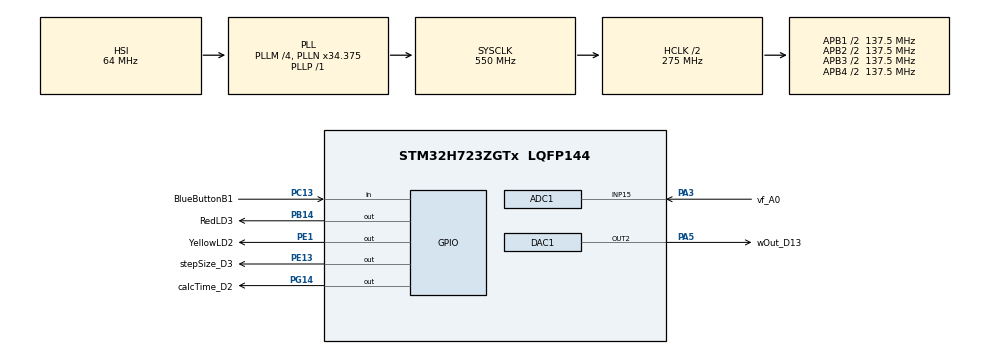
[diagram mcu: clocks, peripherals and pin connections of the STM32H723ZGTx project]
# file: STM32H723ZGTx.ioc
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ADC1.Channel-1\#ChannelRegularConversion=ADC_CHANNEL_15
ADC1.NbrOfConversionFlag=1
ADC1.OffsetNumber-1\#ChannelRegularConversion=ADC_OFFSET_NONE
ADC1.OffsetSignedSaturation-1\#ChannelRegularConversion=DISABLE
ADC1.Rank-1\#ChannelRegularConversion=1
ADC1.SamplingTime-1\#ChannelRegularConversion=ADC_SAMPLETIME_1CYCLE_5
ADC1.master=1
CORTEX_M7.default_mode_Activation=1
DAC1.DAC_Channel-DAC_OUT2=DAC_CHANNEL_2
Mcu.Family=STM32H7
Mcu.Name=STM32H723ZGTx
Mcu.Package=LQFP144
NVIC.PriorityGroup=NVIC_PRIORITYGROUP_4
NVIC.TIM2_IRQn=true\:0\:0\:false\:false\:true\:true\:true\:true
PA13(JTMS/SWDIO).GPIO_Label=SWDIO
PA13(JTMS/SWDIO).Signal=DEBUG_JTMS-SWDIO
PA14(JTCK/SWCLK).GPIO_Label=SWCLK
PA14(JTCK/SWCLK).Signal=DEBUG_JTCK-SWCLK
PA3.GPIO_Label=vf_A0
PA3.Signal=ADCx_INP15
PA5.GPIO_Label=wOut_D13
PA5.Signal=COMP_DAC12_group
PB14.GPIO_Label=RedLD3
PB14.Signal=GPIO_Output
PC13.GPIO_Label=BlueButtonB1
PC13.Signal=GPIO_Input
PC14-OSC32_IN.Signal=RCC_OSC32_IN
PC15-OSC32_OUT.Signal=RCC_OSC32_OUT
PE1.GPIO_Label=YellowLD2
PE1.Signal=GPIO_Output
PE13.GPIO_Label=stepSize_D3
PE13.GPIO_Speed=GPIO_SPEED_FREQ_VERY_HIGH
PE13.Signal=GPIO_Output
PG14.GPIO_Label=calcTime_D2
PG14.GPIO_Speed=GPIO_SPEED_FREQ_VERY_HIGH
PG14.Signal=GPIO_Output
ProjectManager.HeapSize=0x200
ProjectManager.StackSize=0x400
ProjectManager.TargetToolchain=STM32CubeIDE
RCC.ADCFreq_Value=96000000
RCC.APB1Freq_Value=137500000
RCC.APB2Freq_Value=137500000
RCC.APB3Freq_Value=137500000
RCC.APB4Freq_Value=137500000
RCC.CortexFreq_Value=550000000
RCC.D1PPRE=RCC_APB3_DIV2
RCC.D2PPRE1=RCC_APB1_DIV2
RCC.D2PPRE2=RCC_APB2_DIV2
RCC.D3PPRE=RCC_APB4_DIV2
RCC.DIVM1=4
RCC.DIVM2=4
RCC.DIVN1=34
RCC.DIVN2=12
RCC.DIVP1=1
RCC.DIVQ1=4
RCC.HCLKFreq_Value=275000000
RCC.HPRE=RCC_HCLK_DIV2
RCC.HSE_VALUE=8000000
RCC.PLL2FRACN=0
RCC.PLLFRACN=3072
RCC.SYSCLKFreq_VALUE=550000000
RCC.SYSCLKSource=RCC_SYSCLKSOURCE_PLLCLK
RCC.USBCLockSelection=RCC_USBCLKSOURCE_HSI48
RCC.USBFreq_Value=48000000
SH.ADCx_INP15.0=ADC1_INP15,IN15-Single-Ended
SH.COMP_DAC12_group.0=DAC1_OUT2,DAC_OUT2
TIM2.Channel-Output\ Compare1\ No\ Output=TIM_CHANNEL_1
TIM2.Period=199
TIM2.Prescaler=274
VP_MEMORYMAP_VS_MEMORYMAP.Mode=CurAppReg
VP_TIM2_VS_ClockSourceINT.Mode=Internal
VP_TIM2_VS_no_output1.Mode=Output Compare1 No Output
board=NUCLEO-H723ZG

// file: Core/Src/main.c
/* USER CODE BEGIN Header */
/**
  ******************************************************************************
  * @file           : main.c
  * @brief          : Main program body
  ******************************************************************************
  * @attention
  *
  * Copyright (c) 2026 STMicroelectronics.
  * All rights reserved.
  *
  * This software is licensed under terms that can be found in the LICENSE file
  * in the root directory of this software component.
  * If no LICENSE file comes with this software, it is provided AS-IS.
  *
  ******************************************************************************
  */
/* USER CODE END Header */
#include "main.h"
#include "adc.h"
#include "dac.h"
#include "tim.h"
#include "gpio.h"

/* USER CODE BEGIN Includes */
#include "block.h"
/* USER CODE END Includes */

/* USER CODE BEGIN PTD */
#define CONCAT_INNER(a, b) a##b
#define CONCAT(a, b) CONCAT_INNER(a, b)

/* Define shortcut names for unique, hash-based eFMU API: */
#define MODEL_HASH \
  Hcbd8c48e05b139646178cc6f7987b8955b6ce985_fba3e0dfa6c8985b41bcbe3594ee941ce98b740c
typedef CONCAT(BlockState_, MODEL_HASH) \
  ModelGrid;
typedef CONCAT(SPE_Real_, MODEL_HASH) \
  Grid_Real;
typedef CONCAT(SPE_ErrorSignal_, MODEL_HASH) \
  Grid_ErrorSignal;

#define Grid_NONE_ERRORSIGNAL \
  CONCAT(SPE_ERRORSIGNAL_NONE_, MODEL_HASH)
#define Grid_UNSPECIFIED_ERRORSIGNAL \
  CONCAT(SPE_ERRORSIGNAL_UNSPECIFIED_ERROR_, MODEL_HASH)

#define Grid_Startup \
  CONCAT(Startup_, MODEL_HASH)
#define Grid_DoStep \
  CONCAT(DoStep_, MODEL_HASH)
#define Grid_Recalibrate \
  CONCAT(Recalibrate_, MODEL_HASH)
#define Grid_Reinitialize \
  CONCAT(Reinitialize_, MODEL_HASH)
/* USER CODE END PTD */

/* USER CODE BEGIN PV */
/* Sampling activation counter: */
static volatile uint8_t pending_samplings;
/* USER CODE END PV */

void SystemClock_Config(void);
static void MPU_Config(void);

int main(void)
{

  /* MPU Configuration--------------------------------------------------------*/
  MPU_Config();

  /* MCU Configuration--------------------------------------------------------*/

  /* Reset of all peripherals, Initializes the Flash interface and the Systick. */
  HAL_Init();

  /* Configure the system clock */
  SystemClock_Config();

  /* Initialize all configured peripherals */
  MX_GPIO_Init();
  MX_ADC1_Init();
  MX_DAC1_Init();
  MX_TIM2_Init();
  /* USER CODE BEGIN 2 */
  /* Initialize error signaling: */
  Grid_ErrorSignal error_signals = Grid_NONE_ERRORSIGNAL;
  uint32_t error_signal_timestamp = ((uint32_t) 0);
  uint32_t error_overrun_timestamp = ((uint32_t) 0);

  /* Pre-compute constants: */
  const uint32_t POLL_TIMEOUT =
   ((uint32_t) 1); /* in ms */
  const Grid_Real ADC_TO_VOLTS =
    ((Grid_Real) 3.3) / ((Grid_Real) 65535.0 /* 16-bit ADC */);
  const Grid_Real VOLTS_TO_DAC =
    ((Grid_Real) 4095.0) / ((Grid_Real) 3.3);
  const Grid_Real DAC_MAX =
    ((Grid_Real) 4095.0);
  const Grid_Real DAC_MIN =
    ((Grid_Real) 0.0);
  const Grid_Real VF_OFFSET =
    ((Grid_Real) 1.5);

  /* Initialize the eFMU: */
  ModelGrid grid;
  Grid_Startup(&grid);
  error_signals |= grid.ErrorSignals;
  if (Grid_NONE_ERRORSIGNAL != error_signals)
  { /* Block and blink the error LED if initialization failed: */
    while (true)
    {
      HAL_GPIO_WritePin(RedLD3_GPIO_Port, RedLD3_Pin, GPIO_PIN_SET);
      uint32_t start = HAL_GetTick();
      while ((HAL_GetTick() - start) < ((uint32_t) 2000))
      {
      }
      HAL_GPIO_WritePin(RedLD3_GPIO_Port, RedLD3_Pin, GPIO_PIN_RESET);
      start = HAL_GetTick();
      while ((HAL_GetTick() - start) < ((uint32_t) 2000))
      {
      }
    }
  }

  /* Start the sampling timer and DAC channels: */
  pending_samplings = ((uint8_t) 0);
  HAL_DAC_Start(&hdac1, DAC_CHANNEL_2);
  HAL_TIM_Base_Start_IT(&htim2);
  __enable_irq();
  /* USER CODE END 2 */

  /* Infinite loop */
  while (1)
  {

    /* USER CODE BEGIN 3 */
    /*
      Conduct sampling if the sampling timer ticked:
    */
    if (pending_samplings > ((uint8_t) 0))
    {
      /* Always reset the error signals: */
      error_signals = Grid_NONE_ERRORSIGNAL;

      /* Provide computation time feedback for external profiling: */
      HAL_GPIO_WritePin(calcTime_D2_GPIO_Port, calcTime_D2_Pin, GPIO_PIN_SET);

      /* Digital input processing: */
      grid.fault = (GPIO_PIN_SET == HAL_GPIO_ReadPin(
    	BlueButtonB1_GPIO_Port,
        BlueButtonB1_Pin));

      /* Analog input processing: */
      HAL_ADC_Start(&hadc1);
      if (HAL_OK == HAL_ADC_PollForConversion(&hadc1, POLL_TIMEOUT))
      {
        const uint32_t adc_raw = HAL_ADC_GetValue(&hadc1);
        grid.vf = (((Grid_Real) adc_raw) * ADC_TO_VOLTS) - VF_OFFSET;
      }
      else
      {
        error_signals |= Grid_UNSPECIFIED_ERRORSIGNAL;
      }
      HAL_ADC_Stop(&hadc1);

      /* Compute sampling step: */
      Grid_DoStep(&grid);
      error_signals |= grid.ErrorSignals;

      /* Output processing (scaling, clamping, converting volt to AC): */
      Grid_Real dac_w_val = grid.w * VOLTS_TO_DAC;
      if (DAC_MIN > dac_w_val)
      {
        dac_w_val = DAC_MIN;
      }
      else if (DAC_MAX < dac_w_val)
      {
        dac_w_val = DAC_MAX;
      }
      HAL_DAC_SetValue(
        &hdac1,
        DAC_CHANNEL_2,
        DAC_ALIGN_12B_R,
        ((uint32_t) dac_w_val));

      /* Provide computation time feedback for external profiling: */
      HAL_GPIO_WritePin(calcTime_D2_GPIO_Port, calcTime_D2_Pin, GPIO_PIN_RESET);

      --pending_samplings;
    }

    /*
      Check if any errors are signaled from the last sampling, or an overrun
      occurred; if so, set the error LED on. Also check if enough time has
      passed since the last error occurred; if so, turn off the LED:
    */
    const uint8_t tick = HAL_GetTick();

    if (Grid_NONE_ERRORSIGNAL != error_signals)
    {
      error_signal_timestamp = tick;
      HAL_GPIO_WritePin(RedLD3_GPIO_Port, RedLD3_Pin, GPIO_PIN_SET);
    }
    if (pending_samplings > ((uint8_t) 1))
    {
      error_overrun_timestamp = tick;
      HAL_GPIO_WritePin(YellowLD2_GPIO_Port, YellowLD2_Pin, GPIO_PIN_SET);
    }

    if ((((uint32_t) 0) != error_signal_timestamp)
      && (((uint32_t) 30000) < (tick - error_signal_timestamp)))
    {
      HAL_GPIO_WritePin(RedLD3_GPIO_Port, RedLD3_Pin, GPIO_PIN_RESET);
      error_signal_timestamp = ((uint32_t) 0);
    }
    if ((((uint32_t) 0) != error_overrun_timestamp)
      && (((uint32_t) 5000) < (tick - error_overrun_timestamp)))
    {
      HAL_GPIO_WritePin(YellowLD2_GPIO_Port, YellowLD2_Pin, GPIO_PIN_RESET);
      error_overrun_timestamp = ((uint32_t) 0);
    }
  }
  /* USER CODE END 3 */
}

void SystemClock_Config(void)
{
  RCC_OscInitTypeDef RCC_OscInitStruct = {0};
  RCC_ClkInitTypeDef RCC_ClkInitStruct = {0};

  /** Supply configuration update enable
  */
  HAL_PWREx_ConfigSupply(PWR_LDO_SUPPLY);

  /** Configure the main internal regulator output voltage
  */
  __HAL_PWR_VOLTAGESCALING_CONFIG(PWR_REGULATOR_VOLTAGE_SCALE0);

  while(!__HAL_PWR_GET_FLAG(PWR_FLAG_VOSRDY)) {}

  /** Initializes the RCC Oscillators according to the specified parameters
  * in the RCC_OscInitTypeDef structure.
  */
  RCC_OscInitStruct.OscillatorType = RCC_OSCILLATORTYPE_HSI;
  RCC_OscInitStruct.HSIState = RCC_HSI_DIV1;
  RCC_OscInitStruct.HSICalibrationValue = 64;
  RCC_OscInitStruct.PLL.PLLState = RCC_PLL_ON;
  RCC_OscInitStruct.PLL.PLLSource = RCC_PLLSOURCE_HSI;
  RCC_OscInitStruct.PLL.PLLM = 4;
  RCC_OscInitStruct.PLL.PLLN = 34;
  RCC_OscInitStruct.PLL.PLLP = 1;
  RCC_OscInitStruct.PLL.PLLQ = 4;
  RCC_OscInitStruct.PLL.PLLR = 2;
  RCC_OscInitStruct.PLL.PLLRGE = RCC_PLL1VCIRANGE_3;
  RCC_OscInitStruct.PLL.PLLVCOSEL = RCC_PLL1VCOWIDE;
  RCC_OscInitStruct.PLL.PLLFRACN = 3072;
  if (HAL_RCC_OscConfig(&RCC_OscInitStruct) != HAL_OK)
  {
    Error_Handler();
  }

  /** Initializes the CPU, AHB and APB buses clocks
  */
  RCC_ClkInitStruct.ClockType = RCC_CLOCKTYPE_HCLK|RCC_CLOCKTYPE_SYSCLK
                              |RCC_CLOCKTYPE_PCLK1|RCC_CLOCKTYPE_PCLK2
                              |RCC_CLOCKTYPE_D3PCLK1|RCC_CLOCKTYPE_D1PCLK1;
  RCC_ClkInitStruct.SYSCLKSource = RCC_SYSCLKSOURCE_PLLCLK;
  RCC_ClkInitStruct.SYSCLKDivider = RCC_SYSCLK_DIV1;
  RCC_ClkInitStruct.AHBCLKDivider = RCC_HCLK_DIV2;
  RCC_ClkInitStruct.APB3CLKDivider = RCC_APB3_DIV2;
  RCC_ClkInitStruct.APB1CLKDivider = RCC_APB1_DIV2;
  RCC_ClkInitStruct.APB2CLKDivider = RCC_APB2_DIV2;
  RCC_ClkInitStruct.APB4CLKDivider = RCC_APB4_DIV2;

  if (HAL_RCC_ClockConfig(&RCC_ClkInitStruct, FLASH_LATENCY_3) != HAL_OK)
  {
    Error_Handler();
  }
}

/* USER CODE BEGIN 4 */
void HAL_TIM_PeriodElapsedCallback(TIM_HandleTypeDef *htim)
{
  if (TIM2 == htim->Instance)
  {
    if (pending_samplings < ((uint8_t) 255))
    {
      ++pending_samplings;
    }
    HAL_GPIO_TogglePin(stepSize_D3_GPIO_Port, stepSize_D3_Pin);
  }
}
/* USER CODE END 4 */

 /* MPU Configuration */

void MPU_Config(void)
{
  MPU_Region_InitTypeDef MPU_InitStruct = {0};

  /* Disables the MPU */
  HAL_MPU_Disable();

  /** Initializes and configures the Region and the memory to be protected
  */
  MPU_InitStruct.Enable = MPU_REGION_ENABLE;
  MPU_InitStruct.Number = MPU_REGION_NUMBER0;
  MPU_InitStruct.BaseAddress = 0x0;
  MPU_InitStruct.Size = MPU_REGION_SIZE_4GB;
  MPU_InitStruct.SubRegionDisable = 0x87;
  MPU_InitStruct.TypeExtField = MPU_TEX_LEVEL0;
  MPU_InitStruct.AccessPermission = MPU_REGION_NO_ACCESS;
  MPU_InitStruct.DisableExec = MPU_INSTRUCTION_ACCESS_DISABLE;
  MPU_InitStruct.IsShareable = MPU_ACCESS_SHAREABLE;
  MPU_InitStruct.IsCacheable = MPU_ACCESS_NOT_CACHEABLE;
  MPU_InitStruct.IsBufferable = MPU_ACCESS_NOT_BUFFERABLE;

  HAL_MPU_ConfigRegion(&MPU_InitStruct);
  /* Enables the MPU */
  HAL_MPU_Enable(MPU_PRIVILEGED_DEFAULT);

}

void Error_Handler(void)
{
  __disable_irq();
  while (1)
  {
  }
}
